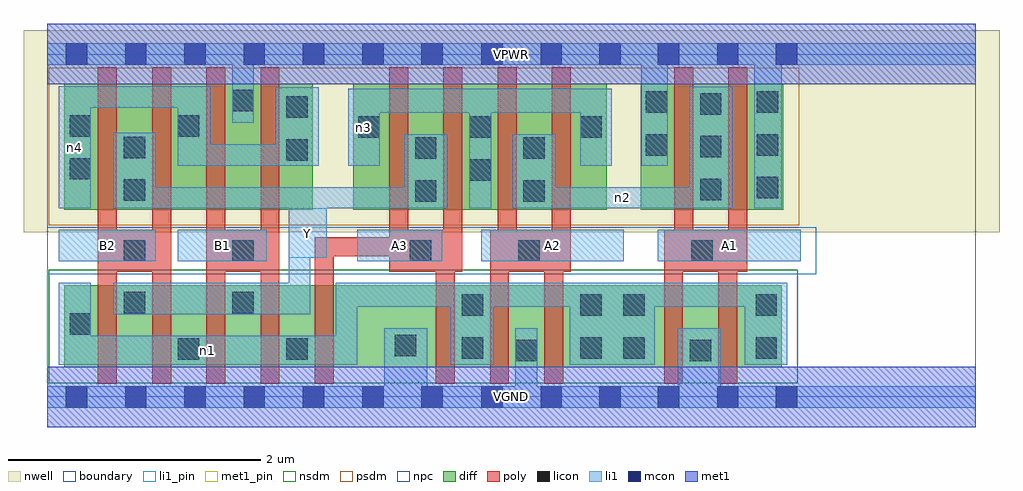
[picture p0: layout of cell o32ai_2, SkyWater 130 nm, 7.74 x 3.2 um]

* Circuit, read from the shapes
.subckt o32ai_2 A1 A2 A3 B1 B2 VGND VPWR Y n1 n2 n3 n4
XM1 Y B2 n1 VSUBS sky130_fd_pr__nfet_01v8 w=0.65 l=0.15 m=2
XM2 Y B1 n1 VSUBS sky130_fd_pr__nfet_01v8 w=0.65 l=0.15 m=2
XM3 VGND A3 n1 VSUBS sky130_fd_pr__nfet_01v8 w=0.65 l=0.15 m=2
XM4 VGND A2 n1 VSUBS sky130_fd_pr__nfet_01v8 w=0.65 l=0.15 m=2
XM5 VGND A1 n1 VSUBS sky130_fd_pr__nfet_01v8 w=0.65 l=0.15 m=2
XM6 Y B2 n4 n5 sky130_fd_pr__pfet_01v8 w=1 l=0.15 m=2
XM7 VPWR B1 n4 n5 sky130_fd_pr__pfet_01v8 w=1 l=0.15 m=2
XM8 Y A3 n3 n5 sky130_fd_pr__pfet_01v8 w=1 l=0.15 m=2
XM9 n2 A2 n3 n5 sky130_fd_pr__pfet_01v8 w=1 l=0.15 m=2
XM10 n2 A1 VPWR n5 sky130_fd_pr__pfet_01v8 w=1 l=0.15 m=2
.ends

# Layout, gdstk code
import gdstk
lib = gdstk.Library(unit=1e-6, precision=1e-09)
def R(c, l, rs):  # rectangles x0, y0, x1, y1
    for r in rs: c.add(gdstk.rectangle(r[:2], r[2:], *l))
def A(c, l, x, y, w, h, nx, ny, dx, dy):  # array of equal rectangles
    R(c, l, [(x+i*dx, y+j*dy, x+i*dx+w, y+j*dy+h) for i in range(nx) for j in range(ny)])
nwell = (64, 20)
diff = (65, 20)
poly = (66, 20)
licon = (66, 44)
li1_pin = (67, 16)
li1 = (67, 20)
mcon = (67, 44)
met1_pin = (68, 16)
met1 = (68, 20)
nsdm = (93, 44)
psdm = (94, 20)
npc = (95, 20)
boundary = (235, 4)

o32ai_2 = lib.new_cell('o32ai_2')
R(o32ai_2, nwell, [(-0.19,1.305,7.55,2.91), (0,1.305,7.36,2.91)])
R(o32ai_2, diff, [(0.135,0.235,5.825,0.885), (0.135,1.485,2.105,2.485), (2.425,1.485,4.435,2.485), (4.705,1.485,5.835,2.485)])
A(o32ai_2, poly, 0.4, 0.105, 0.15, 2.51, 4, 1, 0.43, 0)
A(o32ai_2, poly, 3.08, 0.105, 0.15, 1.22, 3, 1, 0.43, 0)
A(o32ai_2, poly, 2.71, 0.995, 0.15, 1.62, 4, 1, 0.43, 0)
R(o32ai_2, poly, [(2.12,0.105,2.27,1.265), (4.89,0.105,5.04,1.325), (5.32,0.105,5.47,1.325), (0.4,0.995,0.98,1.325), (1.26,0.995,1.84,1.325), (2.71,0.995,3.29,1.325), (3.51,0.995,4.15,1.325), (4.89,0.995,5.55,1.325), (4.97,0.995,5.12,2.615), (5.4,0.995,5.55,2.615), (2.12,1.115,3.29,1.265)])
A(o32ai_2, licon, 5.175, 1.56, 0.17, 0.17, 1, 3, 0, 0.34)
A(o32ai_2, licon, 5.625, 1.575, 0.17, 0.17, 1, 3, 0, 0.34)
A(o32ai_2, licon, 2.465, 2.055, 0.17, 0.17, 3, 1, 0.88, 0)
R(o32ai_2, licon, [(3.715,0.285,3.885,0.455), (5.095,0.285,5.265,0.455), (1.035,0.295,1.205,0.465), (1.895,0.295,2.065,0.465), (3.285,0.305,3.455,0.475), (4.225,0.305,4.395,0.475), (4.565,0.305,4.735,0.475), (5.615,0.305,5.785,0.475), (2.755,0.325,2.925,0.495), (0.175,0.495,0.345,0.665), (3.285,0.645,3.455,0.815), (4.225,0.645,4.395,0.815), (4.565,0.645,4.735,0.815), (5.615,0.645,5.785,0.815), (0.605,0.665,0.775,0.835), (1.465,0.665,1.635,0.835), (0.605,1.075,0.775,1.245), (1.465,1.075,1.635,1.245), (2.875,1.075,3.045,1.245), (3.735,1.075,3.905,1.245), (5.105,1.075,5.275,1.245), (2.915,1.55,3.085,1.72), (3.775,1.55,3.945,1.72), (0.605,1.555,0.775,1.725), (3.345,1.715,3.515,1.885), (0.175,1.725,0.345,1.895), (1.895,1.875,2.065,2.045), (2.915,1.89,3.085,2.06), (3.775,1.89,3.945,2.06), (0.605,1.895,0.775,2.065), (4.745,1.915,4.915,2.085), (0.175,2.065,0.345,2.235), (1.035,2.065,1.205,2.235), (1.895,2.215,2.065,2.385), (4.745,2.255,4.915,2.425), (1.465,2.265,1.635,2.435)])
R(o32ai_2, li1_pin, [(0.09,1.075,0.86,1.325), (1.035,1.075,1.74,1.325), (2.455,1.075,3.13,1.325), (3.44,1.075,4.57,1.325), (4.84,1.075,5.975,1.325), (1.915,1.105,2.215,1.495)])
R(o32ai_2, li1, [(0,-0.085,7.36,0.085), (2.67,-0.085,3.01,0.545), (3.71,-0.085,3.885,0.545), (5,-0.085,5.34,0.545), (0.09,0.255,2.455,0.485), (0.09,0.255,0.345,0.905), (2.285,0.255,2.455,0.905), (3.2,0.255,3.54,0.905), (4.14,0.255,4.815,0.905), (5.53,0.255,5.865,0.905), (0.52,0.655,2.085,0.905), (1.915,0.655,2.085,1.665), (2.285,0.715,5.865,0.905), (0.09,1.075,0.86,1.325), (1.035,1.075,1.74,1.325), (2.455,1.075,3.13,1.325), (3.44,1.075,4.57,1.325), (4.84,1.075,5.975,1.325), (1.915,1.105,2.215,1.495), (0.09,1.495,0.345,2.465), (0.52,1.495,3.17,1.665), (0.52,1.495,0.86,2.095), (2.83,1.495,3.17,2.085), (3.345,1.495,3.52,2.445), (3.69,1.495,4.03,2.085), (3.69,1.495,5.43,1.665), (5.09,1.495,5.43,2.46), (5.605,1.495,5.825,2.805), (1.035,1.835,1.29,2.465), (1.035,1.835,2.15,2.005), (1.81,1.835,2.15,2.455), (2.385,1.835,2.635,2.445), (4.225,1.835,4.475,2.445), (4.71,1.835,4.92,2.805), (1.465,2.175,1.635,2.805), (2.385,2.255,4.475,2.445), (0.09,2.295,1.29,2.465), (0,2.635,7.36,2.805)])
A(o32ai_2, mcon, 0.145, -0.085, 0.17, 0.17, 7, 2, 0.47, 2.72)
A(o32ai_2, mcon, 3.91, -0.085, 0.17, 0.17, 3, 2, 0.465, 2.72)
R(o32ai_2, mcon, [(3.44,-0.085,3.61,0.085), (5.31,-0.085,5.48,0.085), (5.775,-0.085,5.945,0.085), (3.44,2.635,3.61,2.805), (5.31,2.635,5.48,2.805), (5.775,2.635,5.945,2.805)])
R(o32ai_2, met1_pin, [(0,-0.24,7.36,0.24), (0,2.48,7.36,2.96)])
R(o32ai_2, met1, [(0,-0.24,7.36,0.24), (0,2.48,7.36,2.96)])
R(o32ai_2, nsdm, [(0.01,0.11,5.95,1.01)])
R(o32ai_2, psdm, [(0.01,1.36,5.96,2.61)])
R(o32ai_2, npc, [(0,0.975,6.095,1.345)])
R(o32ai_2, boundary, [(0,0,7.36,2.72)])
o32ai_2.add(gdstk.Label('A1', (5.407,1.2), layer=67, texttype=5))
o32ai_2.add(gdstk.Label('A2', (4.005,1.2), layer=67, texttype=5))
o32ai_2.add(gdstk.Label('A3', (2.792,1.2), layer=67, texttype=5))
o32ai_2.add(gdstk.Label('B1', (1.387,1.2), layer=67, texttype=5))
o32ai_2.add(gdstk.Label('B2', (0.475,1.2), layer=67, texttype=5))
o32ai_2.add(gdstk.Label('Y', (2.065,1.3), layer=67, texttype=5))
o32ai_2.add(gdstk.Label('n1', (1.272,0.37), layer=67, texttype=5))
o32ai_2.add(gdstk.Label('n3', (2.51,2.14), layer=67, texttype=5))
o32ai_2.add(gdstk.Label('n2', (4.56,1.58), layer=67, texttype=5))
o32ai_2.add(gdstk.Label('n4', (0.217,1.98), layer=67, texttype=5))
o32ai_2.add(gdstk.Label('VPWR', (3.68,2.72), layer=68, texttype=5))
o32ai_2.add(gdstk.Label('VGND', (3.68,0), layer=68, texttype=5))
o32ai_2.add(gdstk.Label('A1', (5.407,1.2), layer=67, texttype=16))
o32ai_2.add(gdstk.Label('A2', (4.005,1.2), layer=67, texttype=16))
o32ai_2.add(gdstk.Label('A3', (2.792,1.2), layer=67, texttype=16))
o32ai_2.add(gdstk.Label('B1', (1.387,1.2), layer=67, texttype=16))
o32ai_2.add(gdstk.Label('B2', (0.475,1.2), layer=67, texttype=16))
o32ai_2.add(gdstk.Label('Y', (2.065,1.3), layer=67, texttype=16))
o32ai_2.add(gdstk.Label('VPWR', (3.68,2.72), layer=68, texttype=16))
o32ai_2.add(gdstk.Label('VGND', (3.68,0), layer=68, texttype=16))

lib.write_gds('o32ai_2.gds')
